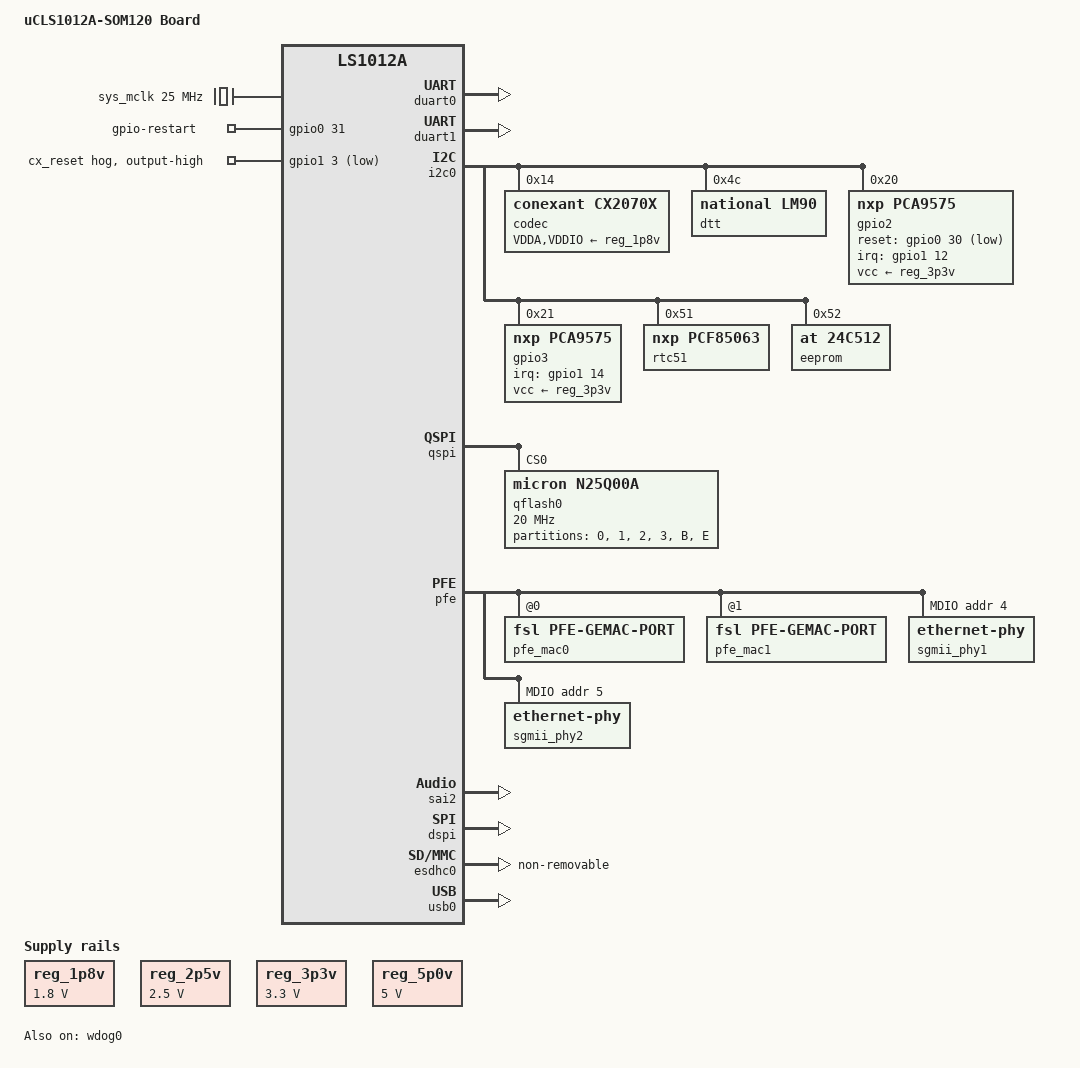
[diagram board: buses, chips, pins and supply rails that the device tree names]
// SPDX-License-Identifier: (GPL-2.0+ OR MIT)
/*
 * Device Tree Include file for Arcturus uCLS1012A-SOM120.
 *
 * Copyright 2017-2021, Arcturus Networks Inc.
 *
 */
/dts-v1/;

#define RESET_BY_GPIO 1
#define ENABLE_EXTERNAL_WATCHDOG_PING 0

#include "ucls1012a.dtsi"

/ {
	model = "uCLS1012A-SOM120 Board";
	compatible = "fsl,ls1012a";

	aliases {
		ethernet0 = &pfe_mac0;
		ethernet1 = &pfe_mac1;
	};

	sys_mclk: clock-mclk {
		compatible = "fixed-clock";
		#clock-cells = <0>;
		clock-frequency = <25000000>;
	};
#if RESET_BY_GPIO
	gpio-restart {
		compatible = "gpio-restart";
		/* gpios = <&gpio0 30 GPIO_ACTIVE_HIGH>; For modules Rev. < 1,4 */
		gpios = <&gpio0 31 GPIO_ACTIVE_HIGH>;
		open-source;
		priority = <200>;
	};
#endif

	reg_1p8v: regulator-1p8v {
		compatible = "regulator-fixed";
		regulator-name = "1P8V";
		regulator-min-microvolt = <1800000>;
		regulator-max-microvolt = <1800000>;
		regulator-always-on;
	};

	reg_2p5v: regulator-2p5v {
		compatible = "regulator-fixed";
		regulator-name = "2P5V";
		regulator-min-microvolt = <2500000>;
		regulator-max-microvolt = <2500000>;
		regulator-always-on;
	};

	reg_3p3v: regulator-3p3v {
		compatible = "regulator-fixed";
		regulator-name = "3P3V";
		regulator-min-microvolt = <3300000>;
		regulator-max-microvolt = <3300000>;
		regulator-always-on;
	};

	reg_5p0v: regulator-5p0v {
		compatible = "regulator-fixed";
		regulator-name = "5P0V";
		regulator-min-microvolt = <5000000>;
		regulator-max-microvolt = <5000000>;
		regulator-always-on;
	};

	sound {
		compatible = "simple-audio-card";
		simple-audio-card,format = "i2s";
		simple-audio-card,widgets =
			"Line", "Line In Jack",
			"Line", "Line Out Jack";
		simple-audio-card,routing =
			"LINEIN1", "Line In Jack",
			"LINEIN2", "Line In Jack",
			"Line Out Jack", "LINEOUT";
		simple-audio-card,cpu {
			sound-dai = <&sai2>;
			frame-master;
			bitclock-master;
		};
		simple-audio-card,codec {
			sound-dai = <&codec>;
			frame-master;
			bitclock-master;
			system-clock-frequency = <25000000>;
		};
	};

#if ENABLE_EXTERNAL_WATCHDOG_PING
	xwatchdog: xwatchdog {
		compatible = "linux,wdt-gpio";
		gpios = <&gpio3 8 GPIO_ACTIVE_HIGH>;
		hw_algo = "toggle";
		hw_margin_ms = <5000>;
		always-running;
		status = "okay";
	};
#endif

	leds {
		compatible = "gpio-leds";
		status = "okay";
#if 0
		led1 {
			label = "OUT1";
			gpios = <&gpio2 8 GPIO_ACTIVE_HIGH>;
			default-state = "on";
		};
		led2 {
			label = "OUT2";
			gpios = <&gpio2 9 GPIO_ACTIVE_HIGH>;
			default-state = "off";
		};
		led3 {
			label = "OUT3";
			gpios = <&gpio2 10 GPIO_ACTIVE_HIGH>;
			default-state = "on";
		};
		led4 {
			label = "OUT4";
			gpios = <&gpio2 11 GPIO_ACTIVE_HIGH>;
			default-state = "off";
		};
		led5 {
			label = "OUT5";
			gpios = <&gpio2 12 GPIO_ACTIVE_HIGH>;
			default-state = "on";
		};
		led6 {
			label = "OUT6";
			gpios = <&gpio2 13 GPIO_ACTIVE_HIGH>;
			default-state = "off";
		};
		led7 {
			label = "OUT7";
			gpios = <&gpio2 14 GPIO_ACTIVE_HIGH>;
			default-state = "on";
		};
		led8 {
			label = "OUT8";
			gpios = <&gpio2 15 GPIO_ACTIVE_HIGH>;
			default-state = "off";
		};
		amp_en {
			label = "AMP_EN";
			gpios = <&gpio3 0 GPIO_ACTIVE_HIGH>;
			default-state = "off";
		};
#endif
	};

	gpio-keys {
		compatible = "gpio-keys";
		status = "okay";
#if 0
		button1 {
			label = "IN1";
			linux,code = <432>;
			gpios = <&gpio2 0 GPIO_OPEN_DRAIN>;
			debounce-interval = <20>;
		};
		button2 {
			label = "IN2";
			linux,code = <433>;
			gpios = <&gpio2 1 GPIO_OPEN_DRAIN>;
			debounce-interval = <20>;
		};
		button3 {
			label = "IN3";
			linux,code = <434>;
			gpios = <&gpio2 2 GPIO_OPEN_DRAIN>;
			debounce-interval = <20>;
		};
		button4 {
			label = "IN4";
			linux,code = <435>;
			gpios = <&gpio2 3 GPIO_OPEN_DRAIN>;
			debounce-interval = <20>;
		};
		button5 {
			label = "IN5";
			linux,code = <436>;
			gpios = <&gpio2 4 GPIO_OPEN_DRAIN>;
			debounce-interval = <20>;
		};
		button6 {
			label = "IN6";
			linux,code = <437>;
			gpios = <&gpio2 5 GPIO_OPEN_DRAIN>;
			debounce-interval = <20>;
		};
		button7 {
			label = "IN7";
			linux,code = <438>;
			gpios = <&gpio2 6 GPIO_OPEN_DRAIN>;
			debounce-interval = <20>;
		};
		button8 {
			label = "IN8";
			linux,code = <439>;
			gpios = <&gpio2 7 GPIO_OPEN_DRAIN>;
			debounce-interval = <20>;
		};
#endif
	};
};

&pcie {
	status = "disabled";
};

&duart0 {
	status = "okay";
};

&duart1 {
	status = "okay";
};

&i2c0 {
	status = "okay";

	codec: cx2070x@14 {
		#sound-dai-cells = <0>;
		compatible = "conexant,cx2070x";
		reg = <0x14>;
		clocks = <&sys_mclk>;
		VDDA-supply = <&reg_1p8v>;
		VDDIO-supply = <&reg_1p8v>;
	};

	dtt@4c {
		compatible = "national,lm90";
		reg = <0x4C>;
	};

	/* U23 */
	gpio2: pca9575@20 {
		compatible = "nxp,pca9575";
		reg =<0x20>;

		/* GPIO pin base & pin0# = 432 */
		gpio-controller;
		#gpio-cells = <2>;

		interrupt-controller;
		#interrupt-cells = <2>;
		interrupt-parent = <&gpio1>;
		interrupts = <12 IRQ_TYPE_EDGE_FALLING>;
		vcc-supply = <&reg_3p3v>;

		reset-gpios = <&gpio0 30 GPIO_ACTIVE_LOW>;

		gpio-line-names = "IN1",
				  "IN2",
				  "IN3",
				  "IN4",
				  "IN5",
				  "IN6",
				  "IN7",
				  "IN8",
				  "OUT1",
				  "OUT2",
				  "OUT3",
				  "OUT4",
				  "OUT5",
				  "OUT6",
				  "OUT7",
				  "OUT8";
	};

	/* U13 */
	gpio3: pca9575@21 {
		compatible = "nxp,pca9575";
		reg =<0x21>;

		/* GPIO pin base & pin0# = 416 */
		gpio-controller;
		#gpio-cells = <2>;

		interrupt-controller;
		#interrupt-cells = <2>;
		interrupt-parent = <&gpio1>;
		interrupts = <14 IRQ_TYPE_EDGE_FALLING>;
		vcc-supply = <&reg_3p3v>;
	};

	rtc51: rtc@51 {
		compatible = "nxp,pcf85063";
		reg = <0x51>;
		status = "ok";
	};

	eeprom@52 {
		compatible = "at,24c512";
		reg = <0x52>;
	};
};

&qspi {
	num-cs = <1>;
	bus-num = <0>;
	status = "okay";

	qflash0: n25q00a@0 {
		compatible = "micron,n25q00a", "jedec,spi-nor";
		#address-cells = <1>;
		#size-cells = <1>;
		m25p,fast-read;
		spi-max-frequency = <20000000>;
		reg = <0>;
		partitions {
			compatible = "fixed-partitions";
			#address-cells = <1>;
			#size-cells = <1>;
			partition0 {
				label = "0";
				reg = <0x00A00000 0x00800000>;
			};
			partition1 {
				label = "1";
				reg = <0x01200000 0x06580000>;
			};
			partition2 {
				label = "2";
				reg = <0x07780000 0x00080000>;
			};
			partition3 {
				label = "3";
				reg = <0x07800000 0x00800000>;
			};
			partitionB {
				label = "B";
				reg = <0x00100000 0x00100000>;
			};
			partitionE {
				label = "E";
				reg = <0x00200000 0x00040000>;
			};
		};
	};
};

&pfe {
	status = "okay";
	#address-cells = <1>;
	#size-cells = <0>;

	pfe_mac0: ethernet@0 {
		compatible = "fsl,pfe-gemac-port";
		#address-cells = <1>;
		#size-cells = <0>;
		reg = <0x0>;	/* GEM_ID */
		fsl,gemac-bus-id = <0x0>;	/* BUS_ID */
		fsl,mdio-mux-val = <0x0>;
		phy-mode = "sgmii";
		phy-handle = <&sgmii_phy1>;
	};

	pfe_mac1: ethernet@1 {
		compatible = "fsl,pfe-gemac-port";
		#address-cells = <1>;
		#size-cells = <0>;
		reg = <0x1>;	/* GEM_ID */
		fsl,mdio-mux-val = <0x0>;
		phy-mode = "sgmii";
		phy-handle = <&sgmii_phy2>;
	};

	mdio@0 {
		#address-cells = <1>;
		#size-cells = <0>;

		sgmii_phy1: ethernet-phy@4 {
			reg = <0x4>;
		};

		sgmii_phy2: ethernet-phy@5 {
			reg = <0x5>;
		};
	};
};

&sai2 {
	status = "okay";
};

&dspi {
	bus-num = <0>;
	status = "okay";
};

&esdhc0 {
	non-removable;
	status = "okay";
};

&usb0 {
	status = "okay";
};

&wdog0 {
	status = "okay";
};

&usb1 {
	status = "disabled";
};

&gpio0 {
	ngpios = <32>;
	gpio-line-names =	"UART1_SOUT",
				"UART1_SIN",
				"IIC1_SCL",
				"IIC1_SDA",
				"QSPI_A_SCK",
				"QSPI_A_CS0",
				"UART2_SIN",
				"UART2_RTS_B",
				"UART2_SOUT",
				"UART2_CTS_B",
				"GPIO1_10",
				"QSPI_A_DATA0",
				"QSPI_A_DATA1",
				"QSPI_A_DATA2",
				"QSPI_A_DATA3",
				"SHDC1_CMD",
				"SHDC1_DAT0",
				"SHDC1_DAT1",
				"SHDC1_DAT2",
				"SHDC1_DAT3",
				"SHDC1_CLK",
				"GPIO1_21", 	/* SDHC1_CD_B better not to use */
				"GPIO1_22", 	/* SDHC1_WP better not to use */
				"SDHC1_VSEL",
				"SPI_MOSI",
				"SPI_CS0",
				"SPI_CS1",
				"SPI_CS2",
				"SPI_MISO",
				"SPI_CLK",
				"GPIO_EXP_RST",
				"MODULE_RST";
};

&gpio1 {
	ngpios = <32>;
	gpio-line-names =	"USB1_DRVVBUS",
				"USB1_PWR_FAULT",
				"PHY_A_IRQ",
				"SPI_CS3",		/* EC1_TXD2 GPIO2_03 */
				"IRQ1",			/* EC1_TXD1 GPIO2_04 */
				"IRQ2",			/* EC1_TXD0 GPIO2_05 */
				"IRQ3",			/* EC1_TX_EN GPIO2_06 */
				"IRQ5",			/* EC1_GTX_CLK GPIO2_07 */
				"reserved",
				"IRQ6",			/* EC1_RXD3 GPIO2_09 */
				"IRQ0",			/* EC1_RXD2 GPIO2_10 */
				"GPIO2_11",		/* EC1_RXD1 GPIO2_11 */
				"GPIO_EXP_IRQ0",
				"PHY_B_IRQ",
				"GPIO2_14",		/* EC1_RX_DV GPIO2_14 */
				"EMI1_MDC",
				"EMI1_MDIO",
				"TMP_DETECT_N",
				"reserved",
				"reserved",
				"reserved",
				"reserved",
				"reserved",
				"reserved",
				"reserved",
				"reserved",
				"reserved",
				"reserved",
				"reserved",
				"reserved",
				"reserved",
				"reserved";

	cx_rst {
		gpio-hog;
		gpios = <3 GPIO_ACTIVE_LOW>;
		output-high;
		line-name = "cx_reset";
	};
};

